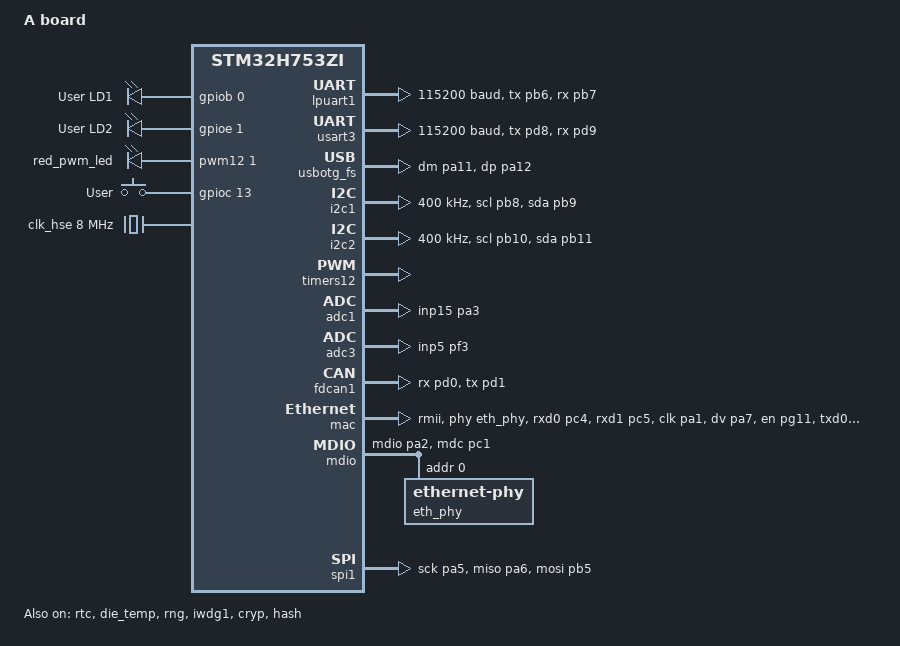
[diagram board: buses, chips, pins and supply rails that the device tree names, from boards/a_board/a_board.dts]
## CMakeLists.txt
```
cmake_minimum_required(VERSION 3.20.0)

list(APPEND BOARD_ROOT ${CMAKE_CURRENT_SOURCE_DIR})
find_package(Zephyr REQUIRED)
project(my_zephyr_app)

target_sources(app PRIVATE src/main.cpp)
add_subdirectory(drivers/led_driver)
```

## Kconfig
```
config APP_HEARTBEAT_PERIOD_MS
    int "LED hearbeat duration (ms)"
    range 100 2000
    default 500

source "Kconfig.zephyr"
rsource "drivers/led_driver/Kconfig"
```

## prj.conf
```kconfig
CONFIG_GPIO=y
CONFIG_LOG=y
CONFIG_OUR_LEDDRIVER=y

CONFIG_SHELL=y
```

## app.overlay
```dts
/ {
    aliases {
	app-led = &green_led;
    };

    leddriver0: leddriver {
        compatible = "our,leddriver";
        status = "okay";
    };
};
```

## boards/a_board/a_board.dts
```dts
/*
 * Copyright (c) 2021 Blue Clover Devices
 *
 * SPDX-License-Identifier: Apache-2.0
 */

/dts-v1/;
#include <st/h7/stm32h753Xi.dtsi>
#include <st/h7/stm32h753zitx-pinctrl.dtsi>
#include "arduino_r3_connector.dtsi"
#include <zephyr/dt-bindings/input/input-event-codes.h>

/ {
	model = "A board";
	compatible = "st,stm32h753zi-nucleo";

	chosen {
		zephyr,console = &usart3;
		zephyr,shell-uart = &usart3;
		zephyr,sram = &sram0;
		zephyr,flash = &flash0;
		zephyr,dtcm = &dtcm;
		zephyr,code-partition = &slot0_partition;
		zephyr,canbus = &fdcan1;
	};

	leds: leds {
		compatible = "gpio-leds";

		green_led: led_0 {
			gpios = <&gpiob 0 GPIO_ACTIVE_HIGH>;
			label = "User LD1";
		};

		yellow_led: led_1 {
			gpios = <&gpioe 1 GPIO_ACTIVE_HIGH>;
			label = "User LD2";
		};
	};

	pwmleds {
		compatible = "pwm-leds";

		red_pwm_led: red_pwm_led {
			pwms = <&pwm12 1 PWM_MSEC(20) PWM_POLARITY_NORMAL>;
		};
	};

	gpio_keys {
		compatible = "gpio-keys";

		user_button: button_0 {
			label = "User";
			gpios = <&gpioc 13 GPIO_ACTIVE_HIGH>;
			zephyr,code = <INPUT_KEY_0>;
		};
	};

	aliases {
		die-temp0 = &die_temp;
		led0 = &green_led;
		led1 = &yellow_led;
		pwm-led0 = &red_pwm_led;
		sw0 = &user_button;
		volt-sensor1 = &vbat;
		watchdog0 = &iwdg;
	};
};

&clk_lsi {
	status = "okay";
};

&clk_hsi48 {
	status = "okay";
};

&clk_hse {
	hse-bypass;
	clock-frequency = <DT_FREQ_M(8)>; /* STLink 8MHz clock */
	status = "okay";
};

&pll {
	div-m = <2>;
	mul-n = <240>;
	div-p = <2>;
	div-q = <2>;
	div-r = <2>;
	clocks = <&clk_hse>;
	status = "okay";
};

&pll2 {
	div-m = <4>;
	mul-n = <120>;
	div-p = <2>;
	div-q = <3>; /* gives 80MHz to the FDCAN */
	div-r = <2>;
	clocks = <&clk_hse>;
	status = "okay";
};

&rcc {
	clocks = <&pll>;
	clock-frequency = <DT_FREQ_M(480)>;
	d1cpre = <1>;
	hpre = <2>;
	d1ppre = <2>;
	d2ppre1 = <2>;
	d2ppre2 = <2>;
	d3ppre = <2>;
};

&pwr {
	power-supply = "ldo";
};

&lpuart1 {
	pinctrl-0 = <&lpuart1_tx_pb6 &lpuart1_rx_pb7>;
	pinctrl-names = "default";
	current-speed = <115200>;
	status = "okay";
};

&usart3 {
	pinctrl-0 = <&usart3_tx_pd8 &usart3_rx_pd9>;
	pinctrl-names = "default";
	current-speed = <115200>;
	status = "okay";
};

zephyr_udc0: &usbotg_fs {
	pinctrl-0 = <&usb_otg_fs_dm_pa11 &usb_otg_fs_dp_pa12>;
	pinctrl-names = "default";
	status = "okay";
};

&rtc {
	clocks = <&rcc STM32_CLOCK(APB4, 16)>,
		 <&rcc STM32_SRC_LSI RTC_SEL(2)>;
	status = "okay";
};

&i2c1 {
	pinctrl-0 = <&i2c1_scl_pb8 &i2c1_sda_pb9>;
	pinctrl-names = "default";
	status = "okay";
	clock-frequency = <I2C_BITRATE_FAST>;
};

&i2c2 {
	pinctrl-0 = <&i2c2_scl_pb10 &i2c2_sda_pb11>;
	pinctrl-names = "default";
	status = "okay";
	clock-frequency = <I2C_BITRATE_FAST>;
};

&timers12 {
	st,prescaler = <10000>;
	status = "okay";

	pwm12: pwm {
		status = "okay";
		pinctrl-0 = <&tim12_ch1_pb14>;
		pinctrl-names = "default";
	};
};

&adc1 {
	pinctrl-0 = <&adc1_inp15_pa3>;
	pinctrl-names = "default";
	st,adc-clock-source = "SYNC";
	st,adc-prescaler = <4>;
	status = "okay";
};

&adc3 {
	pinctrl-0 = <&adc3_inp5_pf3>;
	pinctrl-names = "default";
	st,adc-clock-source = "SYNC";
	st,adc-prescaler = <4>;
	status = "okay";
};

&die_temp {
	status = "okay";
};

&rng {
	status = "okay";
};

&fdcan1 {
	clocks = <&rcc STM32_CLOCK(APB1_2, 8)>,
		 <&rcc STM32_SRC_PLL2_Q FDCAN_SEL(2)>;
	pinctrl-0 = <&fdcan1_rx_pd0 &fdcan1_tx_pd1>;
	pinctrl-names = "default";
	status = "okay";
};

/*
 * WARNING:
 * Possible pin conflicts:
 *          The pins PA2 and PB13 may conflict on selection of ETH_STM32_HAL,
 *          since they are used in ST Zio or ST morpho connectors.
 *          To avoid conflicting states the jumpers JP6 and JP7
 *          must be in ON state.
 */
&mac {
	status = "okay";
	pinctrl-0 = <&eth_rxd0_pc4
		     &eth_rxd1_pc5
		     &eth_ref_clk_pa1
		     &eth_crs_dv_pa7
		     &eth_tx_en_pg11
		     &eth_txd0_pg13
		     &eth_txd1_pb13>;
	pinctrl-names = "default";
	phy-connection-type = "rmii";
	phy-handle = <&eth_phy>;
};

&mdio {
	status = "okay";
	pinctrl-0 = <&eth_mdio_pa2 &eth_mdc_pc1>;
	pinctrl-names = "default";

	eth_phy: ethernet-phy@0 {
		compatible = "ethernet-phy";
		reg = <0x00>;
	};
};

&spi1 {
	status = "okay";
	pinctrl-0 = <&spi1_sck_pa5 &spi1_miso_pa6 &spi1_mosi_pb5>;
	pinctrl-names = "default";
	cs-gpios = <&gpiod 14 (GPIO_ACTIVE_LOW | GPIO_PULL_UP)>;
};

&flash0 {
	partitions {
		compatible = "fixed-partitions";
		#address-cells = <1>;
		#size-cells = <1>;

		/* 128KB for bootloader */
		boot_partition: partition@0 {
			label = "mcuboot";
			reg = <0x00000000 DT_SIZE_K(128)>;
			read-only;
		};

		/* application image slot: 256KB */
		slot0_partition: partition@20000 {
			label = "image-0";
			reg = <0x00020000 DT_SIZE_K(256)>;
		};

		/* backup slot: 384KB */
		slot1_partition: partition@60000 {
			label = "image-1";
			reg = <0x00060000 DT_SIZE_K(384)>;
		};

		/* storage: 256KB for settings */
		storage_partition: partition@c0000 {
			label = "storage";
			reg = <0x000c0000 DT_SIZE_K(256)>;
		};
	};
};

&iwdg1 {
	status = "okay";
};

&cryp {
	status = "okay";
};

&hash {
	status = "okay";
};
```

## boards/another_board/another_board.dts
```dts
/dts-v1/;
#include <st/h7/stm32h753Xi.dtsi>
#include <st/h7/stm32h753zitx-pinctrl.dtsi>

/{
	model = "Another board";
	compatible = "st,stm32h753zi-nucleo";

	chosen {
		zephyr,console = &usart3;
		zephyr,sram = &sram0;
		zephyr,flash = &flash0;
		zephyr,code-partition = &slot0_partition;
	};

	leds: leds {
		compatible = "gpio-leds";

		green_led: led_0 {
			gpios = <&gpiob 0 GPIO_ACTIVE_HIGH>;
			label = "User LD1";
		};

		yellow_led: led_1 {
			gpios = <&gpioe 1 GPIO_ACTIVE_HIGH>;
			label = "User LD2";
		};
	};
};

&usart3 {
	pinctrl-0 = <&usart3_tx_pd8 &usart3_rx_pd9>;
	pinctrl-names = "default";
	current-speed = <115200>;
	status = "okay";
};

&flash0 {
	partitions {
		compatible = "fixed-partitions";
		#address-cells = <1>;
		#size-cells = <1>;

		/* 128KB for bootloader */
		boot_partition: partition@0 {
			label = "mcuboot";
			reg = <0x00000000 DT_SIZE_K(128)>;
			read-only;
		};

		/* application image slot: 256KB */
		slot0_partition: partition@20000 {
			label = "image-0";
			reg = <0x00020000 DT_SIZE_K(256)>;
		};

		/* backup slot: 384KB */
		slot1_partition: partition@60000 {
			label = "image-1";
			reg = <0x00060000 DT_SIZE_K(384)>;
		};

		/* storage: 256KB for settings */
		storage_partition: partition@c0000 {
			label = "storage";
			reg = <0x000c0000 DT_SIZE_K(256)>;
		};
	};
};

&clk_lsi {
	status = "okay";
};

&clk_hsi48 {
	status = "okay";
};

&clk_hse {
	hse-bypass;
	clock-frequency = <DT_FREQ_M(8)>; /* STLink 8MHz clock */
	status = "okay";
};

&pll {
	div-m = <2>;
	mul-n = <240>;
	div-p = <2>;
	div-q = <2>;
	div-r = <2>;
	clocks = <&clk_hse>;
	status = "okay";
};

&pll2 {
	div-m = <4>;
	mul-n = <120>;
	div-p = <2>;
	div-q = <3>; /* gives 80MHz to the FDCAN */
	div-r = <2>;
	clocks = <&clk_hse>;
	status = "okay";
};

&rcc {
	clocks = <&pll>;
	clock-frequency = <DT_FREQ_M(480)>;
	d1cpre = <1>;
	hpre = <2>;
	d1ppre = <2>;
	d2ppre1 = <2>;
	d2ppre2 = <2>;
	d3ppre = <2>;
};

&pwr {
	power-supply = "ldo";
};
```

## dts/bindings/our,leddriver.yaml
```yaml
description: Our custom led driver binding
compatible: "our,leddriver"
include: base.yaml
```

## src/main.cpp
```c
#include <zephyr/drivers/gpio.h>
#include <zephyr/drivers/sensor.h>
#include <zephyr/kernel.h>
#include <zephyr/logging/log.h>
#include "task2.h"

#define SLEEP_TIME_MS 1000

/* The devicetree node identifier for the "led0" alias. */
#define LED_NODE DT_ALIAS(app_led)

static const struct gpio_dt_spec led = GPIO_DT_SPEC_GET(LED_NODE, gpios);

LOG_MODULE_REGISTER(main, LOG_LEVEL_INF);


namespace{
    void test(){
        const struct device* driver = DEVICE_DT_GET(DT_NODELABEL(leddriver0));
        struct sensor_value val;
        
        auto ret = sensor_sample_fetch(driver);  
        LOG_INF("Channel ret %d", ret);

        // ret = sensor_channel_get(driver, SENSOR_CHAN_AMBIENT_TEMP, &val);
        // LOG_INF("Channel ret %d", ret);

        leddriver_set_count(driver, 5);
    }
}


int main(void)
{
    // test();
    bool led_state = true;

    if (!gpio_is_ready_dt(&led)) return 0;

    if (gpio_pin_configure_dt(&led, GPIO_OUTPUT_ACTIVE) < 0) return 0;

    while (1) {
        if (gpio_pin_toggle_dt(&led) < 0) return 0;

        led_state = !led_state;
        // LOG_INF("LED state: %s", led_state ? "ON" : "OFF");
        k_msleep(CONFIG_APP_HEARTBEAT_PERIOD_MS);
    }
    return 0;
}
```
